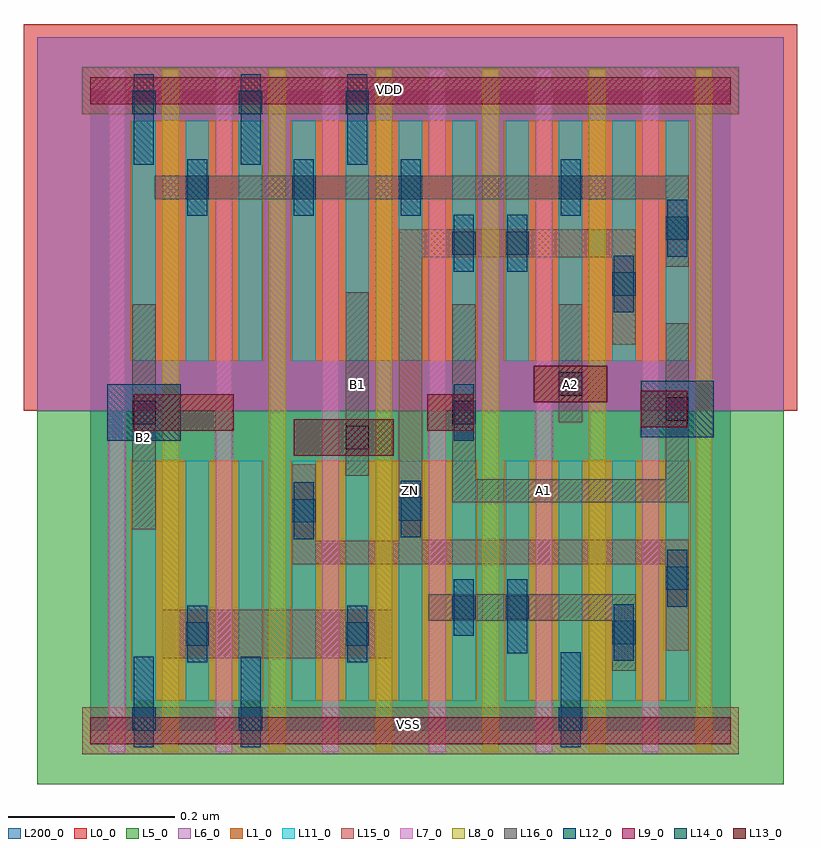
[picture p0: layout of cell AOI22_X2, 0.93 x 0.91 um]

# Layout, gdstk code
import gdstk
lib = gdstk.Library(unit=1e-6, precision=1e-09)
def R(c, l, rs):  # rectangles x0, y0, x1, y1
    for r in rs: c.add(gdstk.rectangle(r[:2], r[2:], *l))
def A(c, l, x, y, w, h, nx, ny, dx, dy):  # array of equal rectangles
    R(c, l, [(x+i*dx, y+j*dy, x+i*dx+w, y+j*dy+h) for i in range(nx) for j in range(ny)])
def P(c, l, *ps):  # polygons
    for p in ps: c.add(gdstk.Polygon(p, *l))
L0_0 = (0, 0)
L1_0 = (1, 0)
L5_0 = (5, 0)
L6_0 = (6, 0)
L7_0 = (7, 0)
L8_0 = (8, 0)
L9_0 = (9, 0)
L11_0 = (11, 0)
L12_0 = (12, 0)
L13_0 = (13, 0)
L14_0 = (14, 0)
L15_0 = (15, 0)
L16_0 = (16, 0)
L200_0 = (200, 0)

aoi22_x2 = lib.new_cell('AOI22_X2')
R(aoi22_x2, L0_0, [(-0.08,0.384,0.848,0.848)])
R(aoi22_x2, L1_0, [(0.048,0.036,0.208,0.324), (0.24,0.036,0.464,0.324), (0.496,0.036,0.72,0.324), (0.048,0.444,0.208,0.732), (0.24,0.444,0.464,0.732), (0.496,0.444,0.72,0.732)])
R(aoi22_x2, L5_0, [(-0.064,-0.064,0.832,0.384)])
R(aoi22_x2, L6_0, [(-0.064,0.384,0.832,0.832)])
A(aoi22_x2, L7_0, 0.022, -0.026, 0.02, 0.82, 6, 1, 0.128, 0)
A(aoi22_x2, L8_0, 0.086, -0.026, 0.02, 0.82, 6, 1, 0.128, 0)
R(aoi22_x2, L9_0, [(0,-0.016,0.768,0.016), (0,0.752,0.768,0.784)])
A(aoi22_x2, L11_0, 0.05, 0.036, 0.028, 0.288, 11, 2, 0.064, 0.408)
A(aoi22_x2, L12_0, 0.116, 0.618, 0.024, 0.068, 3, 1, 0.128, 0)
A(aoi22_x2, L12_0, 0.052, 0.679, 0.024, 0.109, 3, 1, 0.128, 0)
R(aoi22_x2, L12_0, [(0.052,-0.02,0.076,0.089), (0.18,-0.02,0.204,0.089), (0.564,-0.02,0.588,0.094), (0.116,0.082,0.14,0.15), (0.308,0.082,0.332,0.15), (0.628,0.084,0.652,0.152), (0.5,0.093,0.524,0.182), (0.436,0.114,0.46,0.182), (0.692,0.149,0.716,0.217), (0.244,0.23,0.268,0.298), (0.372,0.232,0.396,0.3), (0.02,0.348,0.108,0.416), (0.436,0.348,0.46,0.416), (0.66,0.352,0.748,0.42), (0.628,0.502,0.652,0.57), (0.436,0.551,0.46,0.619), (0.5,0.551,0.524,0.619), (0.692,0.569,0.716,0.637), (0.564,0.618,0.588,0.686)])
R(aoi22_x2, L13_0, [(0.244,0.33,0.364,0.374), (0.052,0.36,0.172,0.404), (0.404,0.36,0.46,0.404), (0.66,0.364,0.716,0.408), (0.532,0.394,0.62,0.438)])
A(aoi22_x2, L14_0, 0.114, 0.638, 0.028, 0.028, 3, 1, 0.128, 0)
A(aoi22_x2, L14_0, 0.05, 0.74, 0.028, 0.028, 3, 1, 0.128, 0)
R(aoi22_x2, L14_0, [(0.05,0,0.078,0.028), (0.178,0,0.206,0.028), (0.562,0,0.59,0.028), (0.114,0.102,0.142,0.13), (0.306,0.102,0.334,0.13), (0.626,0.104,0.654,0.132), (0.434,0.134,0.462,0.162), (0.498,0.134,0.526,0.162), (0.69,0.169,0.718,0.197), (0.242,0.25,0.27,0.278), (0.37,0.252,0.398,0.28), (0.306,0.338,0.334,0.366), (0.05,0.368,0.078,0.396), (0.434,0.368,0.462,0.396), (0.69,0.372,0.718,0.4), (0.562,0.402,0.59,0.43), (0.626,0.522,0.654,0.55), (0.434,0.571,0.462,0.599), (0.498,0.571,0.526,0.599), (0.69,0.589,0.718,0.617), (0.562,0.638,0.59,0.666)])
R(aoi22_x2, L15_0, [(-0.01,-0.028,0.778,0.028), (0.086,0.087,0.362,0.145), (-0.01,0.74,0.778,0.796)])
P(aoi22_x2, L15_0, [(0.242,0.2),(0.69,0.2),(0.69,0.096),(0.718,0.096),(0.718,0.229),(0.398,0.229),(0.398,0.568),(0.626,0.568),(0.626,0.463),(0.654,0.463),(0.654,0.602),(0.37,0.602),(0.37,0.228),(0.27,0.228),(0.27,0.32),(0.242,0.32)])
R(aoi22_x2, L16_0, [(0.05,0.242,0.078,0.512), (0.306,0.306,0.334,0.526), (0.562,0.37,0.59,0.512)])
P(aoi22_x2, L16_0, [(0.406,0.132),(0.626,0.132),(0.626,0.072),(0.654,0.072),(0.654,0.164),(0.406,0.164)],
  [(0.434,0.274),(0.718,0.274),(0.718,0.489),(0.69,0.489),(0.69,0.302),(0.462,0.302),(0.462,0.512),(0.434,0.512)],
  [(0.077,0.638),(0.69,0.638),(0.69,0.557),(0.718,0.557),(0.718,0.666),(0.077,0.666)])
R(aoi22_x2, L200_0, [(0,0,0.768,0.768)])
aoi22_x2.add(gdstk.Label('VSS', (0.382,0.008), layer=15, texttype=20))
aoi22_x2.add(gdstk.Label('ZN', (0.384,0.288), layer=15, texttype=20))
aoi22_x2.add(gdstk.Label('VDD', (0.359,0.77), layer=15, texttype=20))
aoi22_x2.add(gdstk.Label('B2', (0.064,0.352), layer=16, texttype=20))
aoi22_x2.add(gdstk.Label('B1', (0.32,0.416), layer=16, texttype=20))
aoi22_x2.add(gdstk.Label('A1', (0.544,0.288), layer=16, texttype=20))
aoi22_x2.add(gdstk.Label('A2', (0.576,0.416), layer=16, texttype=20))

lib.write_gds('AOI22_X2.gds')
